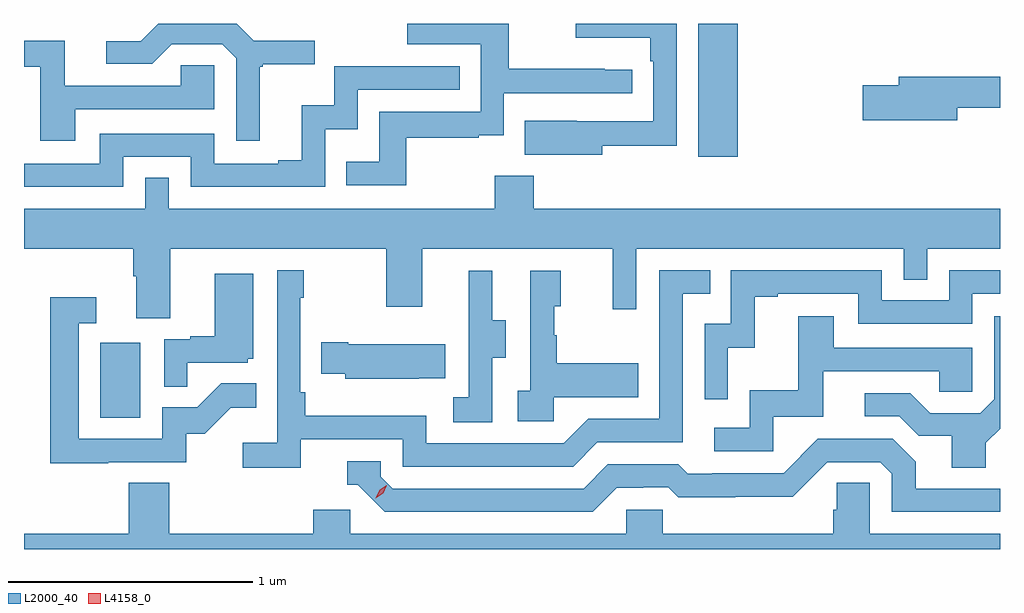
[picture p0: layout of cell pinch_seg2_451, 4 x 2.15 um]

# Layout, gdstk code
import gdstk
lib = gdstk.Library(unit=1e-6, precision=1e-09)
def R(c, l, rs):  # rectangles x0, y0, x1, y1
    for r in rs: c.add(gdstk.rectangle(r[:2], r[2:], *l))
def P(c, l, *ps):  # polygons
    for p in ps: c.add(gdstk.Polygon(p, *l))
L2000_40 = (2000, 40)
L4158_0 = (4158, 0)

pinch_seg2_451 = lib.new_cell('pinch_seg2_451')
R(pinch_seg2_451, L2000_40, [(912.794,584.34,912.958,584.647), (915.245,585.408,915.406,585.954)])
P(pinch_seg2_451, L2000_40, [(914.851,585.454),(915.156,585.454),(915.156,585.954),(914.742,585.954),(914.742,585.896),(915.047,585.896),(915.047,585.8),(915.06,585.8),(915.06,585.555),(914.747,585.555),(914.747,585.556),(914.533,585.556),(914.533,585.416),(914.851,585.416)],
  [(914.047,585.486),(914.345,585.486),(914.345,585.497),(914.448,585.497),(914.448,585.669),(914.974,585.669),(914.974,585.765),(914.861,585.765),(914.861,585.77),(914.468,585.77),(914.468,585.954),(914.051,585.954),(914.051,585.87),(914.352,585.87),(914.352,585.594),(913.936,585.594),(913.936,585.388),(913.801,585.388),(913.801,585.291),(914.047,585.291)],
  [(913.447,585.777),(913.459,585.777),(913.459,585.788),(913.672,585.788),(913.672,585.885),(913.422,585.885),(913.353,585.954),(913.032,585.954),(912.96,585.882),(912.819,585.882),(912.819,585.789),(913.006,585.789),(913.087,585.87),(913.293,585.87),(913.35,585.813),(913.35,585.474),(913.447,585.474)],
  [(912.691,585.603),(913.26,585.603),(913.26,585.783),(913.123,585.783),(913.123,585.699),(912.649,585.699),(912.649,585.885),(912.481,585.885),(912.481,585.777),(912.547,585.777),(912.547,585.474),(912.691,585.474)],
  [(912.888,585.408),(913.164,585.408),(913.164,585.285),(913.716,585.285),(913.716,585.521),(913.848,585.521),(913.848,585.684),(914.267,585.684),(914.267,585.78),(913.752,585.78),(913.752,585.619),(913.619,585.619),(913.619,585.394),(913.523,585.394),(913.523,585.381),(913.26,585.381),(913.26,585.504),(912.792,585.504),(912.792,585.381),(912.481,585.381),(912.481,585.285),(912.888,585.285)],
  [(916.306,585.609),(916.481,585.609),(916.481,585.737),(916.067,585.737),(916.067,585.701),(915.918,585.701),(915.918,585.559),(916.306,585.559)],
  [(913.081,585.032),(913.966,585.032),(913.966,584.793),(914.113,584.793),(914.113,585.032),(914.894,585.032),(914.894,584.784),(914.991,584.784),(914.991,585.032),(916.086,585.032),(916.086,584.905),(916.182,584.905),(916.182,585.032),(916.481,585.032),(916.481,585.196),(914.57,585.196),(914.57,585.331),(914.41,585.331),(914.41,585.196),(913.074,585.196),(913.074,585.323),(912.978,585.323),(912.978,585.196),(912.481,585.196),(912.481,585.032),(912.929,585.032),(912.929,584.92),(912.941,584.92),(912.941,584.746),(913.081,584.746)],
  [(913.616,584.25),(914.034,584.25),(914.034,584.139),(914.731,584.139),(914.83,584.238),(915.18,584.238),(915.18,584.847),(915.293,584.847),(915.293,584.943),(915.084,584.943),(915.084,584.334),(914.793,584.334),(914.694,584.235),(914.13,584.235),(914.13,584.347),(913.634,584.347),(913.634,584.443),(913.614,584.443),(913.614,584.831),(913.627,584.831),(913.627,584.944),(913.518,584.944),(913.518,584.236),(913.377,584.236),(913.377,584.134),(913.616,584.134)],
  [(915.366,584.627),(915.476,584.627),(915.476,584.835),(915.571,584.835),(915.571,584.847),(915.9,584.847),(915.9,584.724),(916.368,584.724),(916.368,584.847),(916.481,584.847),(916.481,584.943),(916.272,584.943),(916.272,584.82),(915.996,584.82),(915.996,584.943),(915.378,584.943),(915.378,584.724),(915.27,584.724),(915.27,584.415),(915.366,584.415)],
  [(914.652,584.423),(914.999,584.423),(914.999,584.563),(914.665,584.563),(914.665,584.678),(914.655,584.678),(914.655,584.796),(914.68,584.796),(914.68,584.941),(914.556,584.941),(914.556,584.45),(914.505,584.45),(914.505,584.325),(914.652,584.325)],
  [(914.4,584.584),(914.455,584.584),(914.455,584.739),(914.401,584.739),(914.401,584.941),(914.303,584.941),(914.303,584.727),(914.304,584.727),(914.304,584.423),(914.241,584.423),(914.241,584.32),(914.4,584.32)],
  [(913.151,584.565),(913.398,584.565),(913.398,584.58),(913.42,584.58),(913.42,584.929),(913.262,584.929),(913.262,584.674),(913.163,584.674),(913.163,584.661),(913.056,584.661),(913.056,584.467),(913.151,584.467)],
  [(912.827,584.157),(913.146,584.157),(913.146,584.274),(913.222,584.274),(913.329,584.381),(913.433,584.381),(913.433,584.48),(913.289,584.48),(913.191,584.382),(913.047,584.382),(913.047,584.253),(912.705,584.253),(912.705,584.727),(912.778,584.727),(912.778,584.833),(912.589,584.833),(912.589,584.152),(912.827,584.152)],
  [(915.552,584.343),(915.757,584.343),(915.757,584.529),(916.231,584.529),(916.231,584.445),(916.368,584.445),(916.368,584.625),(915.799,584.625),(915.799,584.755),(915.655,584.755),(915.655,584.452),(915.456,584.452),(915.456,584.298),(915.309,584.298),(915.309,584.202),(915.552,584.202)],
  [(916.423,584.236),(916.481,584.294),(916.481,584.755),(916.458,584.755),(916.458,584.415),(916.401,584.358),(916.195,584.358),(916.114,584.439),(915.927,584.439),(915.927,584.346),(916.068,584.346),(916.148,584.266),(916.283,584.266),(916.283,584.134),(916.423,584.134)],
  [(914.099,584.501),(914.207,584.501),(914.207,584.641),(913.81,584.641),(913.81,584.649),(913.699,584.649),(913.699,584.519),(913.797,584.519),(913.797,584.498),(914.099,584.498)],
  [(914.911,584.052),(915.018,584.052),(915.018,584.055),(915.121,584.055),(915.163,584.013),(915.396,584.013),(915.396,584.015),(915.632,584.015),(915.774,584.157),(915.99,584.157),(916.038,584.109),(916.038,583.953),(916.481,583.953),(916.481,584.049),(916.135,584.049),(916.135,584.159),(916.041,584.253),(915.735,584.253),(915.594,584.112),(915.301,584.112),(915.301,584.109),(915.202,584.109),(915.163,584.148),(914.874,584.148),(914.775,584.049),(913.992,584.049),(913.944,584.097),(913.944,584.16),(913.805,584.16),(913.805,584.064),(913.848,584.064),(913.959,583.953),(914.812,583.953)],
  [(916.481,583.864),(915.948,583.864),(915.948,584.072),(915.811,584.072),(915.811,583.962),(915.797,583.962),(915.797,583.864),(915.099,583.864),(915.099,583.962),(914.949,583.962),(914.949,583.864),(913.818,583.864),(913.818,583.962),(913.667,583.962),(913.667,583.864),(913.076,583.864),(913.076,584.072),(912.911,584.072),(912.911,583.864),(912.481,583.864),(912.481,583.8),(916.481,583.8)])
P(pinch_seg2_451, L4158_0, [(913.922,584.01),(913.922,584.01),(913.938,584.043),(913.968,584.063),(913.968,584.063),(913.968,584.062),(913.953,584.03),(913.923,584.01)])

lib.write_gds('pinch_seg2_451.gds')
